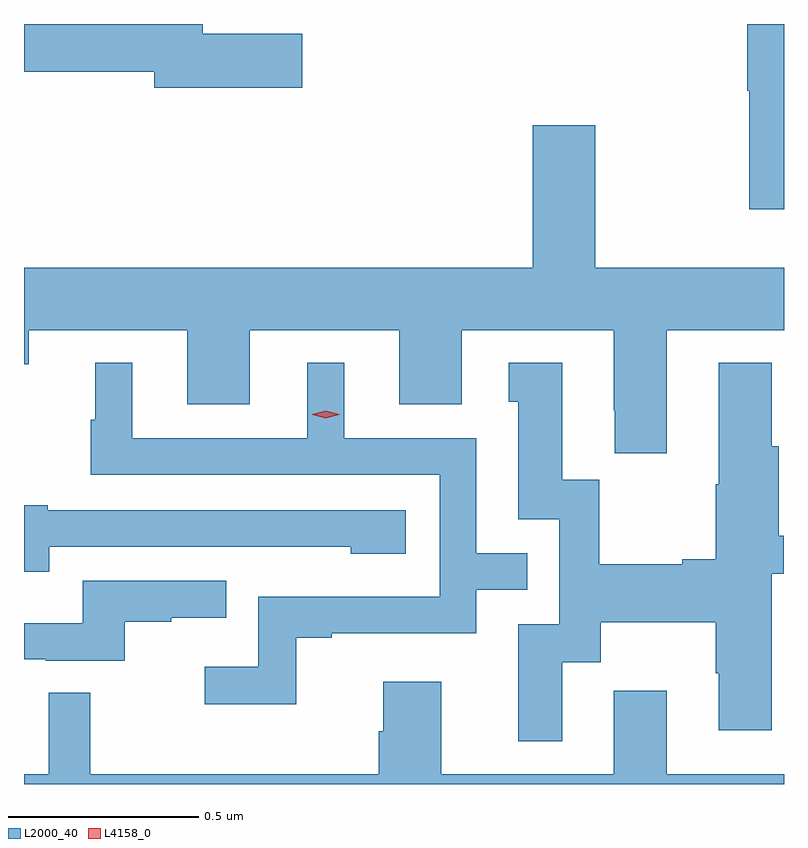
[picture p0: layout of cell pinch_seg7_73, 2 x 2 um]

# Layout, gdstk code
import gdstk
lib = gdstk.Library(unit=1e-6, precision=1e-09)
def P(c, l, *ps):  # polygons
    for p in ps: c.add(gdstk.Polygon(p, *l))
L2000_40 = (2000, 40)
L4158_0 = (4158, 0)

pinch_seg7_73 = lib.new_cell('pinch_seg7_73')
P(pinch_seg7_73, L2000_40, [(955.609,1066.664),(955.348,1066.664),(955.348,1066.69),(954.877,1066.69),(954.877,1066.564),(955.22,1066.564),(955.22,1066.522),(955.609,1066.522)],
  [(956.877,1066.69),(956.78,1066.69),(956.78,1066.515),(956.785,1066.515),(956.785,1066.203),(956.877,1066.203)],
  [(956.569,1065.884),(956.877,1065.884),(956.877,1066.048),(956.38,1066.048),(956.38,1066.423),(956.216,1066.423),(956.216,1066.048),(954.877,1066.048),(954.877,1065.794),(954.889,1065.794),(954.889,1065.884),(955.307,1065.884),(955.307,1065.69),(955.471,1065.69),(955.471,1065.884),(955.865,1065.884),(955.865,1065.69),(956.029,1065.69),(956.029,1065.884),(956.429,1065.884),(956.429,1065.673),(956.432,1065.673),(956.432,1065.561),(956.569,1065.561)],
  [(955.593,1065.075),(955.687,1065.075),(955.687,1065.087),(956.067,1065.087),(956.067,1065.201),(956.201,1065.201),(956.201,1065.297),(956.067,1065.297),(956.067,1065.6),(955.72,1065.6),(955.72,1065.799),(955.622,1065.799),(955.622,1065.6),(955.162,1065.6),(955.162,1065.799),(955.064,1065.799),(955.064,1065.648),(955.053,1065.648),(955.053,1065.504),(955.971,1065.504),(955.971,1065.183),(955.494,1065.183),(955.494,1064.998),(955.353,1064.998),(955.353,1064.9),(955.593,1064.9)],
  [(956.293,1065.01),(956.395,1065.01),(956.395,1065.116),(956.698,1065.116),(956.698,1064.982),(956.705,1064.982),(956.705,1064.832),(956.845,1064.832),(956.845,1065.243),(956.876,1065.243),(956.876,1065.343),(956.863,1065.343),(956.863,1065.579),(956.845,1065.579),(956.845,1065.799),(956.705,1065.799),(956.705,1065.479),(956.698,1065.479),(956.698,1065.281),(956.609,1065.281),(956.609,1065.268),(956.391,1065.268),(956.391,1065.491),(956.293,1065.491),(956.293,1065.799),(956.153,1065.799),(956.153,1065.696),(956.177,1065.696),(956.177,1065.387),(956.286,1065.387),(956.286,1065.111),(956.177,1065.111),(956.177,1064.802),(956.293,1064.802)],
  [(954.943,1065.315),(955.501,1065.315),(955.501,1065.314),(955.737,1065.314),(955.737,1065.296),(955.882,1065.296),(955.882,1065.411),(954.939,1065.411),(954.939,1065.424),(954.877,1065.424),(954.877,1065.248),(954.943,1065.248)],
  [(955.142,1065.117),(955.265,1065.117),(955.265,1065.128),(955.409,1065.128),(955.409,1065.225),(955.032,1065.225),(955.032,1065.113),(954.877,1065.113),(954.877,1065.018),(954.934,1065.018),(954.934,1065.015),(955.142,1065.015)],
  [(956.877,1064.716),(956.569,1064.716),(956.569,1064.935),(956.429,1064.935),(956.429,1064.716),(955.975,1064.716),(955.975,1064.959),(955.823,1064.959),(955.823,1064.829),(955.811,1064.829),(955.811,1064.716),(955.051,1064.716),(955.051,1064.93),(954.942,1064.93),(954.942,1064.716),(954.877,1064.716),(954.877,1064.69),(956.877,1064.69)])
P(pinch_seg7_73, L4158_0, [(955.671,1065.652),(955.636,1065.662),(955.635,1065.662),(955.636,1065.663),(955.671,1065.672),(955.706,1065.663),(955.707,1065.662),(955.706,1065.662)])

lib.write_gds('pinch_seg7_73.gds')
